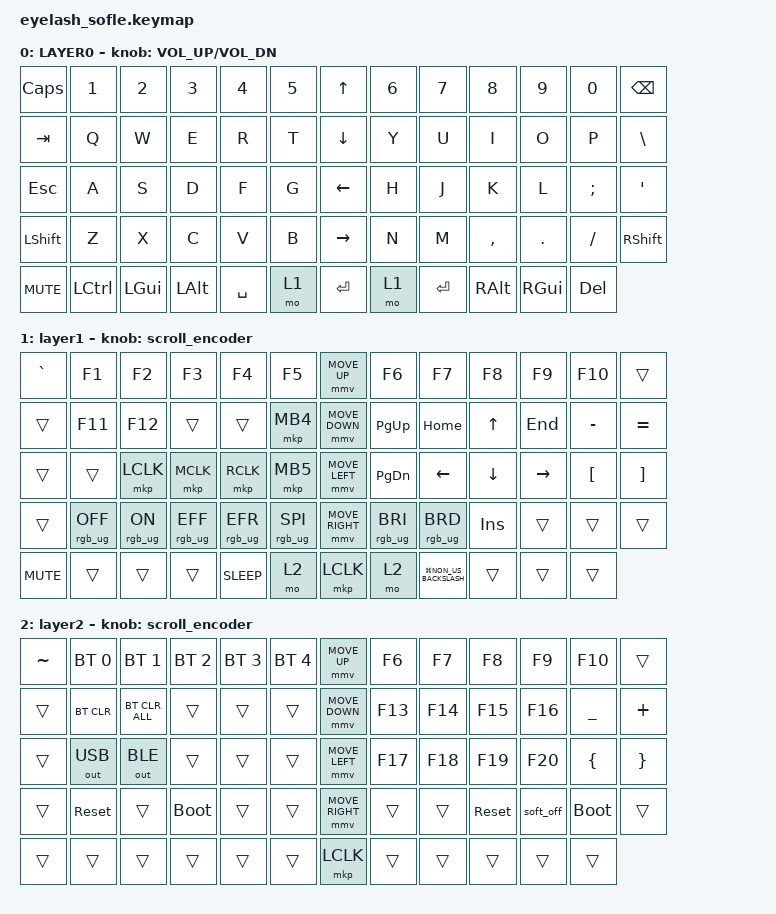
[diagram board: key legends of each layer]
#define ZMK_POINTING_DEFAULT_MOVE_VAL 1200  // 600
#define ZMK_POINTING_DEFAULT_SCRL_VAL 25   // 10

#include <input/processors.dtsi>
#include <zephyr/dt-bindings/input/input-event-codes.h>
#include <behaviors.dtsi>
#include <dt-bindings/zmk/bt.h>
#include <dt-bindings/zmk/keys.h>
#include <dt-bindings/zmk/outputs.h>
#include <dt-bindings/zmk/pointing.h>
#include <dt-bindings/zmk/rgb.h>

&mmv_input_listener { input-processors = <&zip_xy_scaler 2 1>; };

&msc_input_listener { input-processors = <&zip_scroll_scaler 2 1>; };

&msc {
    acceleration-exponent = <1>;      // 0
    time-to-max-speed-ms = <100>;       // 300
    delay-ms = <0>;                   // 0
};

&mmv {
    time-to-max-speed-ms = <500>;
    acceleration-exponent = <1>;
    trigger-period-ms = <16>;
};

/ {
    scroll_encoder: scroll_encoder {
        compatible = "zmk,behavior-sensor-rotate";
        #sensor-binding-cells = <0>;
        bindings = <&msc SCRL_DOWN>, <&msc SCRL_UP>;

        tap-ms = <100>;
    };

    behaviors {
    };

    combos { compatible = "zmk,combos"; };

    keymap {
        compatible = "zmk,keymap";

        layer0 {
            bindings = <
&kp CAPS    &kp N1     &kp N2    &kp N3    &kp N4     &kp N5    &kp UP_ARROW     &kp N6  &kp N7     &kp N8     &kp N9    &kp N0      &kp BACKSPACE
&kp TAB     &kp Q      &kp W     &kp E     &kp R      &kp T     &kp DOWN_ARROW   &kp Y   &kp U      &kp I      &kp O     &kp P       &kp BSLH
&kp ESC     &kp A      &kp S     &kp D     &kp F      &kp G     &kp LEFT_ARROW   &kp H   &kp J      &kp K      &kp L     &kp SEMI    &kp APOS
&kp LSHFT   &kp Z      &kp X     &kp C     &kp V      &kp B     &kp RIGHT_ARROW  &kp N   &kp M      &kp COMMA  &kp DOT   &kp FSLH    &kp RIGHT_SHIFT
&kp C_MUTE  &kp LCTRL  &kp LGUI  &kp LALT  &kp SPACE  &mo 1     &kp ENTER        &mo 1   &kp ENTER  &kp RALT   &kp RGUI  &kp DELETE
            >;

            sensor-bindings = <&inc_dec_kp C_VOLUME_UP C_VOL_DN>;
            display-name = "LAYER0";
        };

        layer_1 {
            bindings = <
&kp GRAVE   &kp F1           &kp F2          &kp F3           &kp F4           &kp F5             &mmv MOVE_UP     &kp F6           &kp F7                    &kp F8      &kp F9     &kp F10           &trans
&trans      &kp F11          &kp F12         &trans           &trans           &mkp MB4           &mmv MOVE_DOWN   &kp PG_UP        &kp HOME                  &kp UP      &kp END    &kp MINUS         &kp EQUAL
&trans      &trans           &mkp LCLK       &mkp MCLK        &mkp RCLK        &mkp MB5           &mmv MOVE_LEFT   &kp PG_DN        &kp LEFT                  &kp DOWN    &kp RIGHT  &kp LEFT_BRACKET  &kp RIGHT_BRACKET
&trans      &rgb_ug RGB_OFF  &rgb_ug RGB_ON  &rgb_ug RGB_EFF  &rgb_ug RGB_EFR  &rgb_ug RGB_SPI    &mmv MOVE_RIGHT  &rgb_ug RGB_BRI  &rgb_ug RGB_BRD           &kp INSERT  &trans     &trans            &trans
&kp C_MUTE  &trans           &trans          &trans           &kp C_SLEEP      &mo 2              &mkp LCLK        &mo 2            &kp LG(NON_US_BACKSLASH)  &trans      &trans     &trans
            >;

            display-name = "layer1";
            sensor-bindings = <&scroll_encoder>;
        };

        layer_2 {
            bindings = <
&kp TILDE  &bt BT_SEL 0  &bt BT_SEL 1    &bt BT_SEL 2  &bt BT_SEL 3  &bt BT_SEL 4    &mmv MOVE_UP     &kp F6   &kp F7   &kp F8      &kp F9     &kp F10      &trans
&trans     &bt BT_CLR    &bt BT_CLR_ALL  &trans        &trans        &trans          &mmv MOVE_DOWN   &kp F13  &kp F14  &kp F15     &kp F16    &kp UNDER    &kp PLUS
&trans     &out OUT_USB  &out OUT_BLE    &trans        &trans        &trans          &mmv MOVE_LEFT   &kp F17  &kp F18  &kp F19     &kp F20    &kp LBRC     &kp RBRC
&trans     &sys_reset    &trans          &bootloader   &trans        &trans          &mmv MOVE_RIGHT  &trans   &trans   &sys_reset  &soft_off  &bootloader  &trans
&trans     &trans        &trans          &trans        &trans        &trans          &mkp LCLK        &trans   &trans   &trans      &trans     &trans
            >;

            display-name = "layer2";
            sensor-bindings = <&scroll_encoder>;
        };
    };
};
